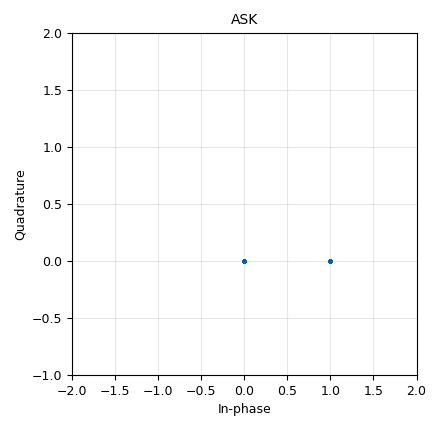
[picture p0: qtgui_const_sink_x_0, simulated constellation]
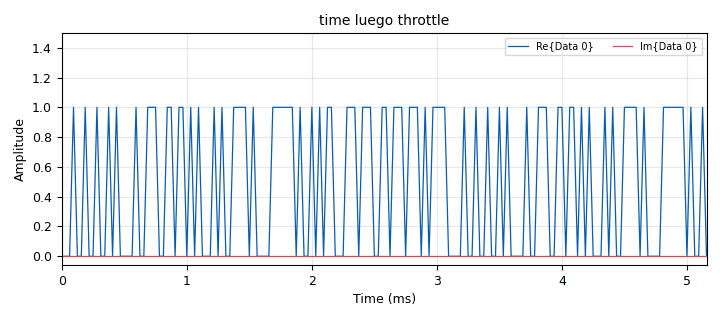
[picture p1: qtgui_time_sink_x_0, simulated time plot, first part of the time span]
options:
  parameters:
    generate_options: qt_gui
    id: ask_propio
    output_language: python
    title: Not titled yet
  states: {}

blocks:
- name: samp_rate
  id: variable
  parameters:
    value: '32000'
  states: {}
- name: analog_const_source_x_0
  id: analog_const_source_x
  parameters:
    const: '0'
    type: float
  states: {}
- name: analog_random_source_x_0
  id: analog_random_source_x
  parameters:
    max: '2'
    min: '0'
    num_samps: '100'
    repeat: 'True'
    type: byte
  states: {}
- name: blocks_char_to_float_0
  id: blocks_char_to_float
  parameters:
    scale: '1'
  states: {}
- name: blocks_char_to_float_1
  id: blocks_char_to_float
  parameters:
    scale: '1'
  states: {}
- name: blocks_char_to_float_2
  id: blocks_char_to_float
  parameters:
    scale: '1'
  states: {state: disabled}
- name: blocks_complex_to_real_0
  id: blocks_complex_to_real
  parameters: {}
  states: {}
- name: blocks_delay_0
  id: blocks_delay
  parameters:
    delay: '3'
    type: float
  states: {}
- name: blocks_float_to_char_0
  id: blocks_float_to_char
  parameters:
    scale: '1'
  states: {}
- name: blocks_float_to_complex_0
  id: blocks_float_to_complex
  parameters: {}
  states: {}
- name: blocks_threshold_ff_0
  id: blocks_threshold_ff
  parameters:
    high: '0.5'
    init: '0'
    low: '0.5'
  states: {}
- name: blocks_throttle2_0
  id: blocks_throttle2
  parameters:
    samples_per_second: samp_rate
    type: complex
  states: {}
- name: blocks_vector_source_x_0
  id: blocks_vector_source_x
  parameters:
    repeat: 'True'
    type: byte
    vector: '[1]+2047*[0]'
  states: {state: disabled}
- name: blocks_xor_xx_0
  id: blocks_xor_xx
  parameters:
    type: byte
  states: {}
- name: channels_channel_model_0
  id: channels_channel_model
  parameters:
    epsilon: '1.0'
    freq_offset: '0.0'
    noise_voltage: '0.0'
    seed: '0'
    taps: '1.0'
  states: {}
- name: fec_ber_bf_0
  id: fec_ber_bf
  parameters:
    test_mode: 'False'
  states: {}
- name: qtgui_const_sink_x_0
  id: qtgui_const_sink_x
  parameters:
    grid: 'True'
    name: '"ASK"'
    size: '1024'
    type: complex
    ymin: '-1'
  states: {}
- name: qtgui_sink_x_0
  id: qtgui_sink_x
  parameters:
    bw: samp_rate
    fc: '0'
    fftsize: '1024'
    name: '"salida xor"'
    type: float
  states: {}
- name: qtgui_time_sink_x_0
  id: qtgui_time_sink_x
  parameters:
    name: '"time luego throttle"'
    size: '1024'
    srate: samp_rate
    type: complex
    ymax: '1.5'
    ymin: '0'
  states: {}
- name: qtgui_time_sink_x_1
  id: qtgui_time_sink_x
  parameters:
    nconnections: '2'
    size: '1024'
    srate: samp_rate
    tr_level: '0.5'
    tr_mode: qtgui.TRIG_MODE_NORM
    type: float
  states: {state: disabled}

connections:
- [analog_const_source_x_0, '0', blocks_float_to_complex_0, '1']
- [analog_random_source_x_0, '0', blocks_char_to_float_0, '0']
- [analog_random_source_x_0, '0', blocks_char_to_float_2, '0']
- [analog_random_source_x_0, '0', blocks_xor_xx_0, '0']
- [blocks_char_to_float_0, '0', blocks_float_to_complex_0, '0']
- [blocks_char_to_float_1, '0', qtgui_sink_x_0, '0']
- [blocks_char_to_float_2, '0', qtgui_time_sink_x_1, '0']
- [blocks_complex_to_real_0, '0', blocks_delay_0, '0']
- [blocks_delay_0, '0', blocks_threshold_ff_0, '0']
- [blocks_delay_0, '0', qtgui_time_sink_x_1, '1']
- [blocks_float_to_char_0, '0', blocks_xor_xx_0, '1']
- [blocks_float_to_complex_0, '0', blocks_throttle2_0, '0']
- [blocks_threshold_ff_0, '0', blocks_float_to_char_0, '0']
- [blocks_throttle2_0, '0', channels_channel_model_0, '0']
- [blocks_throttle2_0, '0', qtgui_const_sink_x_0, '0']
- [blocks_throttle2_0, '0', qtgui_time_sink_x_0, '0']
- [blocks_vector_source_x_0, '0', blocks_char_to_float_0, '0']
- [blocks_vector_source_x_0, '0', blocks_char_to_float_2, '0']
- [blocks_xor_xx_0, '0', blocks_char_to_float_1, '0']
- [channels_channel_model_0, '0', blocks_complex_to_real_0, '0']

metadata:
  file_format: 1
  grc_version: 3.10.10.0
